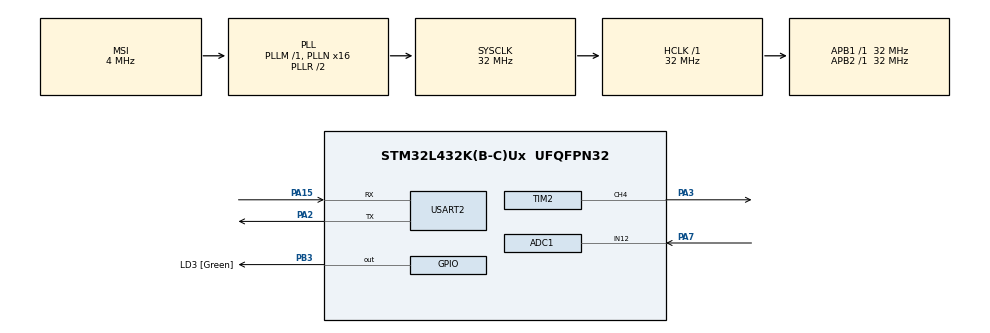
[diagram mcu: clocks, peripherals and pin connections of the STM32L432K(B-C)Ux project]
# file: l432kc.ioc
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ADC1.Channel-1\#ChannelRegularConversion=ADC_CHANNEL_12
ADC1.NbrOfConversionFlag=1
ADC1.OffsetNumber-1\#ChannelRegularConversion=ADC_OFFSET_NONE
ADC1.Rank-1\#ChannelRegularConversion=1
ADC1.SamplingTime-1\#ChannelRegularConversion=ADC_SAMPLETIME_2CYCLES_5
ADC1.master=1
Mcu.Family=STM32L4
Mcu.Name=STM32L432K(B-C)Ux
Mcu.Package=UFQFPN32
NVIC.ADC1_IRQn=true\:0\:0\:false\:false\:true\:true\:true\:true
NVIC.PriorityGroup=NVIC_PRIORITYGROUP_4
PA0.GPIO_Label=MCO [High speed clock in]
PA0.Mode=HSE-External-Clock-Source-for-LittleOrca
PA0.Signal=RCC_CK_IN
PA15\ (JTDI).Mode=Asynchronous
PA15\ (JTDI).Signal=USART2_RX
PA2.Mode=Asynchronous
PA2.Signal=USART2_TX
PA3.Signal=S_TIM2_CH4
PA7.Signal=ADCx_IN12
PB3\ (JTDO-TRACESWO).GPIO_Label=LD3 [Green]
PB3\ (JTDO-TRACESWO).Signal=GPIO_Output
PC14-OSC32_IN\ (PC14).Mode=LSE-External-Oscillator
PC14-OSC32_IN\ (PC14).Signal=RCC_OSC32_IN
PC15-OSC32_OUT\ (PC15).Mode=LSE-External-Oscillator
PC15-OSC32_OUT\ (PC15).Signal=RCC_OSC32_OUT
ProjectManager.HeapSize=0x200
ProjectManager.StackSize=0x400
ProjectManager.TargetToolchain=STM32CubeIDE
RCC.ADCFreq_Value=64000000
RCC.AHBFreq_Value=32000000
RCC.APB1Freq_Value=32000000
RCC.APB1TimFreq_Value=32000000
RCC.APB2Freq_Value=32000000
RCC.APB2TimFreq_Value=32000000
RCC.CortexFreq_Value=32000000
RCC.HCLKFreq_Value=32000000
RCC.HSE_VALUE=8000000
RCC.HSI16_VALUE=16000000
RCC.HSI48_VALUE=48000000
RCC.HSI_VALUE=16000000
RCC.MSI_VALUE=4000000
RCC.PLLMUL=RCC_PLLMUL_4
RCC.PLLN=16
RCC.PLLSAI1N=32
RCC.SYSCLKFreq_VALUE=32000000
RCC.SYSCLKSource=RCC_SYSCLKSOURCE_PLLCLK
RCC.USBFreq_Value=64000000
RCC.VCOOutputFreq_Value=64000000
SH.ADCx_IN12.0=ADC1_IN12,IN12-Single-Ended
SH.S_TIM2_CH4.0=TIM2_CH4,Output Compare4 CH4
TIM2.Channel-Output\ Compare4\ CH4=TIM_CHANNEL_4
USART2.VirtualMode-Asynchronous=VM_ASYNC
VP_TIM2_VS_ClockSourceINT.Mode=Internal
board=NUCLEO-L432KC

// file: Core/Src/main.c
/* USER CODE BEGIN Header */
/**
  ******************************************************************************
  * @file           : main.c
  * @brief          : Main program body
  ******************************************************************************
  * @attention
  *
  * Copyright (c) 2023 STMicroelectronics.
  * All rights reserved.
  *
  * This software is licensed under terms that can be found in the LICENSE file
  * in the root directory of this software component.
  * If no LICENSE file comes with this software, it is provided AS-IS.
  *
  ******************************************************************************
  */
/* USER CODE END Header */
#include "main.h"

/* USER CODE BEGIN Includes */
#include "CalcManager.h"
#include "DC_MOTOR.h"

/* USER CODE END Includes */

/* USER CODE BEGIN PD */
#define DC_MOTOR1    0

/* USER CODE END PD */

ADC_HandleTypeDef hadc1;

TIM_HandleTypeDef htim2;

UART_HandleTypeDef huart2;

void SystemClock_Config(void);
static void MX_GPIO_Init(void);
static void MX_USART2_UART_Init(void);
static void MX_TIM2_Init(void);
static void MX_ADC1_Init(void);

/* USER CODE BEGIN 0 */
float current = 0;
float sensitivity = 0.1; // 0.1 for 20A Model
void HAL_ADC_ConvCpltCallback(ADC_HandleTypeDef* hadc)
{
    // Read & Update The ADC Result
	uint16_t readValue = HAL_ADC_GetValue(&hadc1);
	float rawVoltage = (float) readValue * 3.3 * 2 / 4095 * 1.1925;
	    // If rawVoltage is not 2.5Volt, multiply by a factor.In my case it is 1.035
	    // This is due to tolerance in voltage divider resister & ADC accuracy
	current =(rawVoltage - 2.5)/sensitivity;

	//Possiblement faire current/2 car au repos = 0.15A mais stm mesure 0.3A
}
/* USER CODE END 0 */

int main(void)
{

  /* MCU Configuration--------------------------------------------------------*/

  /* Reset of all peripherals, Initializes the Flash interface and the Systick. */
  HAL_Init();

  /* Configure the system clock */
  SystemClock_Config();

  /* Initialize all configured peripherals */
  MX_GPIO_Init();
  MX_USART2_UART_Init();
  MX_TIM2_Init();
  MX_ADC1_Init();
  /* USER CODE BEGIN 2 */

  DC_MOTOR_Init(DC_MOTOR1);
  DC_MOTOR_Start(DC_MOTOR1, DIR_CW, 100);

  // Calibrate The ADC On Power-Up For Better Accuracy
  HAL_ADCEx_Calibration_Start(&hadc1, ADC_SINGLE_ENDED);

  /* USER CODE END 2 */

  /* Infinite loop */
  /* USER CODE BEGIN WHILE */

  uint32_t u32Timer = HAL_GetTick();
  uint16_t speed = 500;

  char msg[] = "Coucou\n";
  HAL_UART_Transmit(&huart2, (uint8_t*)msg, sizeof(msg), 100);

  while (1)
  {

	 if (HAL_GetTick() - u32Timer >= 500)
	 {
		 speed += 100;
		 if (speed >= 1000)
		 {
			 speed = 0;
		 }
		 DC_MOTOR_Set_Speed(DC_MOTOR1, speed);

		 HAL_ADC_Start_IT(&hadc1);

//		 HAL_UART_Transmit(&huart2, (uint8_t*)&current, sizeof(current), 100);

		 u32Timer = HAL_GetTick();
	 }

    /* USER CODE END WHILE */

  }
}

void SystemClock_Config(void)
{
  RCC_OscInitTypeDef RCC_OscInitStruct = {0};
  RCC_ClkInitTypeDef RCC_ClkInitStruct = {0};

  /** Configure the main internal regulator output voltage
  */
  if (HAL_PWREx_ControlVoltageScaling(PWR_REGULATOR_VOLTAGE_SCALE1) != HAL_OK)
  {
    Error_Handler();
  }

  /** Configure LSE Drive Capability
  */
  HAL_PWR_EnableBkUpAccess();
  __HAL_RCC_LSEDRIVE_CONFIG(RCC_LSEDRIVE_LOW);

  /** Initializes the RCC Oscillators according to the specified parameters
  * in the RCC_OscInitTypeDef structure.
  */
  RCC_OscInitStruct.OscillatorType = RCC_OSCILLATORTYPE_LSE|RCC_OSCILLATORTYPE_MSI;
  RCC_OscInitStruct.LSEState = RCC_LSE_ON;
  RCC_OscInitStruct.MSIState = RCC_MSI_ON;
  RCC_OscInitStruct.MSICalibrationValue = 0;
  RCC_OscInitStruct.MSIClockRange = RCC_MSIRANGE_6;
  RCC_OscInitStruct.PLL.PLLState = RCC_PLL_ON;
  RCC_OscInitStruct.PLL.PLLSource = RCC_PLLSOURCE_MSI;
  RCC_OscInitStruct.PLL.PLLM = 1;
  RCC_OscInitStruct.PLL.PLLN = 16;
  RCC_OscInitStruct.PLL.PLLP = RCC_PLLP_DIV7;
  RCC_OscInitStruct.PLL.PLLQ = RCC_PLLQ_DIV2;
  RCC_OscInitStruct.PLL.PLLR = RCC_PLLR_DIV2;
  if (HAL_RCC_OscConfig(&RCC_OscInitStruct) != HAL_OK)
  {
    Error_Handler();
  }

  /** Initializes the CPU, AHB and APB buses clocks
  */
  RCC_ClkInitStruct.ClockType = RCC_CLOCKTYPE_HCLK|RCC_CLOCKTYPE_SYSCLK
                              |RCC_CLOCKTYPE_PCLK1|RCC_CLOCKTYPE_PCLK2;
  RCC_ClkInitStruct.SYSCLKSource = RCC_SYSCLKSOURCE_PLLCLK;
  RCC_ClkInitStruct.AHBCLKDivider = RCC_SYSCLK_DIV1;
  RCC_ClkInitStruct.APB1CLKDivider = RCC_HCLK_DIV1;
  RCC_ClkInitStruct.APB2CLKDivider = RCC_HCLK_DIV1;

  if (HAL_RCC_ClockConfig(&RCC_ClkInitStruct, FLASH_LATENCY_1) != HAL_OK)
  {
    Error_Handler();
  }

  /** Enable MSI Auto calibration
  */
  HAL_RCCEx_EnableMSIPLLMode();
}

static void MX_ADC1_Init(void)
{

  ADC_ChannelConfTypeDef sConfig = {0};

  /** Common config
  */
  hadc1.Instance = ADC1;
  hadc1.Init.ClockPrescaler = ADC_CLOCK_ASYNC_DIV1;
  hadc1.Init.Resolution = ADC_RESOLUTION_12B;
  hadc1.Init.DataAlign = ADC_DATAALIGN_RIGHT;
  hadc1.Init.ScanConvMode = ADC_SCAN_DISABLE;
  hadc1.Init.EOCSelection = ADC_EOC_SINGLE_CONV;
  hadc1.Init.LowPowerAutoWait = DISABLE;
  hadc1.Init.ContinuousConvMode = DISABLE;
  hadc1.Init.NbrOfConversion = 1;
  hadc1.Init.DiscontinuousConvMode = DISABLE;
  hadc1.Init.ExternalTrigConv = ADC_SOFTWARE_START;
  hadc1.Init.ExternalTrigConvEdge = ADC_EXTERNALTRIGCONVEDGE_NONE;
  hadc1.Init.DMAContinuousRequests = DISABLE;
  hadc1.Init.Overrun = ADC_OVR_DATA_PRESERVED;
  hadc1.Init.OversamplingMode = DISABLE;
  if (HAL_ADC_Init(&hadc1) != HAL_OK)
  {
    Error_Handler();
  }

  /** Configure Regular Channel
  */
  sConfig.Channel = ADC_CHANNEL_12;
  sConfig.Rank = ADC_REGULAR_RANK_1;
  sConfig.SamplingTime = ADC_SAMPLETIME_2CYCLES_5;
  sConfig.SingleDiff = ADC_SINGLE_ENDED;
  sConfig.OffsetNumber = ADC_OFFSET_NONE;
  sConfig.Offset = 0;
  if (HAL_ADC_ConfigChannel(&hadc1, &sConfig) != HAL_OK)
  {
    Error_Handler();
  }

}

static void MX_TIM2_Init(void)
{

  TIM_ClockConfigTypeDef sClockSourceConfig = {0};
  TIM_MasterConfigTypeDef sMasterConfig = {0};
  TIM_OC_InitTypeDef sConfigOC = {0};

  htim2.Instance = TIM2;
  htim2.Init.Prescaler = 0;
  htim2.Init.CounterMode = TIM_COUNTERMODE_UP;
  htim2.Init.Period = 4294967295;
  htim2.Init.ClockDivision = TIM_CLOCKDIVISION_DIV1;
  htim2.Init.AutoReloadPreload = TIM_AUTORELOAD_PRELOAD_DISABLE;
  if (HAL_TIM_Base_Init(&htim2) != HAL_OK)
  {
    Error_Handler();
  }
  sClockSourceConfig.ClockSource = TIM_CLOCKSOURCE_INTERNAL;
  if (HAL_TIM_ConfigClockSource(&htim2, &sClockSourceConfig) != HAL_OK)
  {
    Error_Handler();
  }
  if (HAL_TIM_OC_Init(&htim2) != HAL_OK)
  {
    Error_Handler();
  }
  sMasterConfig.MasterOutputTrigger = TIM_TRGO_RESET;
  sMasterConfig.MasterSlaveMode = TIM_MASTERSLAVEMODE_DISABLE;
  if (HAL_TIMEx_MasterConfigSynchronization(&htim2, &sMasterConfig) != HAL_OK)
  {
    Error_Handler();
  }
  sConfigOC.OCMode = TIM_OCMODE_TIMING;
  sConfigOC.Pulse = 0;
  sConfigOC.OCPolarity = TIM_OCPOLARITY_HIGH;
  sConfigOC.OCFastMode = TIM_OCFAST_DISABLE;
  if (HAL_TIM_OC_ConfigChannel(&htim2, &sConfigOC, TIM_CHANNEL_4) != HAL_OK)
  {
    Error_Handler();
  }
  HAL_TIM_MspPostInit(&htim2);

}

static void MX_USART2_UART_Init(void)
{

  huart2.Instance = USART2;
  huart2.Init.BaudRate = 115200;
  huart2.Init.WordLength = UART_WORDLENGTH_8B;
  huart2.Init.StopBits = UART_STOPBITS_1;
  huart2.Init.Parity = UART_PARITY_NONE;
  huart2.Init.Mode = UART_MODE_TX_RX;
  huart2.Init.HwFlowCtl = UART_HWCONTROL_NONE;
  huart2.Init.OverSampling = UART_OVERSAMPLING_16;
  huart2.Init.OneBitSampling = UART_ONE_BIT_SAMPLE_DISABLE;
  huart2.AdvancedInit.AdvFeatureInit = UART_ADVFEATURE_NO_INIT;
  if (HAL_UART_Init(&huart2) != HAL_OK)
  {
    Error_Handler();
  }

}

static void MX_GPIO_Init(void)
{
  GPIO_InitTypeDef GPIO_InitStruct = {0};

  /* GPIO Ports Clock Enable */
  __HAL_RCC_GPIOC_CLK_ENABLE();
  __HAL_RCC_GPIOA_CLK_ENABLE();
  __HAL_RCC_GPIOB_CLK_ENABLE();

  /*Configure GPIO pin Output Level */
  HAL_GPIO_WritePin(LD3_GPIO_Port, LD3_Pin, GPIO_PIN_RESET);

  /*Configure GPIO pin : LD3_Pin */
  GPIO_InitStruct.Pin = LD3_Pin;
  GPIO_InitStruct.Mode = GPIO_MODE_OUTPUT_PP;
  GPIO_InitStruct.Pull = GPIO_NOPULL;
  GPIO_InitStruct.Speed = GPIO_SPEED_FREQ_LOW;
  HAL_GPIO_Init(LD3_GPIO_Port, &GPIO_InitStruct);

}

void Error_Handler(void)
{
  __disable_irq();
  while (1)
  {
  }
}
